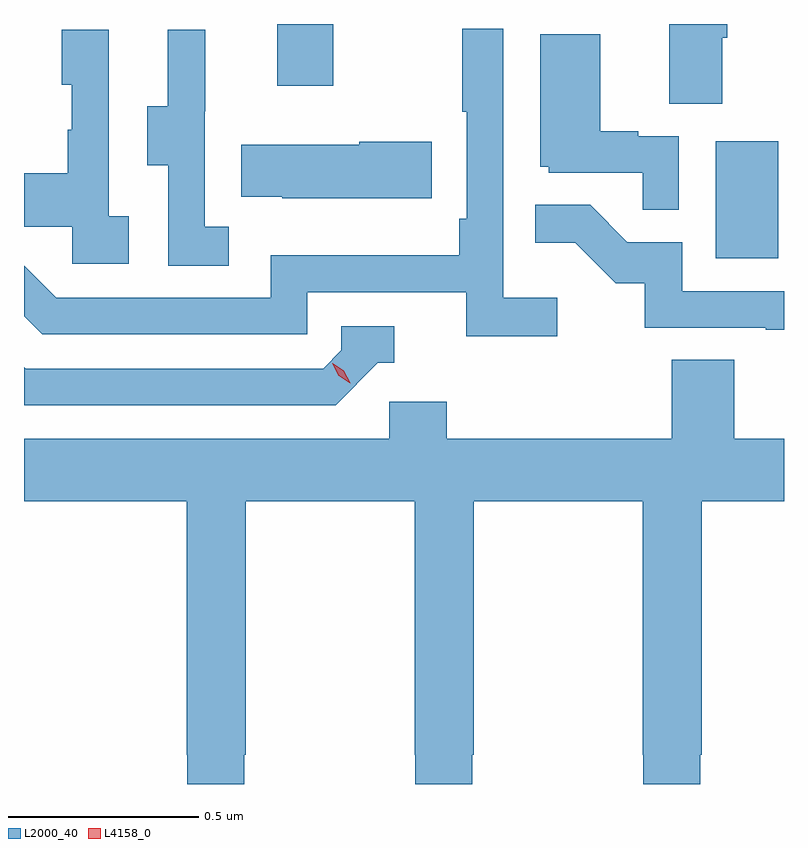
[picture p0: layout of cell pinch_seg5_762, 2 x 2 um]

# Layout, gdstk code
import gdstk
lib = gdstk.Library(unit=1e-6, precision=1e-09)
def R(c, l, rs):  # rectangles x0, y0, x1, y1
    for r in rs: c.add(gdstk.rectangle(r[:2], r[2:], *l))
def P(c, l, *ps):  # polygons
    for p in ps: c.add(gdstk.Polygon(p, *l))
L2000_40 = (2000, 40)
L4158_0 = (4158, 0)

pinch_seg5_762 = lib.new_cell('pinch_seg5_762')
R(pinch_seg5_762, L2000_40, [(843.128,912.012,843.292,912.319), (841.973,912.465,842.121,912.628)])
P(pinch_seg5_762, L2000_40, [(843.145,912.592),(843.158,912.592),(843.158,912.628),(843.005,912.628),(843.005,912.418),(843.145,912.418)],
  [(842.71,911.908),(842.568,911.908),(842.568,912.616),(842.46,912.616),(842.46,912.397),(842.472,912.397),(842.472,912.115),(842.452,912.115),(842.452,912.019),(841.956,912.019),(841.956,911.907),(841.392,911.907),(841.307,911.992),(841.307,911.859),(841.355,911.811),(842.052,911.811),(842.052,911.922),(842.471,911.922),(842.471,911.806),(842.71,911.806)],
  [(841.846,912.095),(841.782,912.095),(841.782,912.399),(841.784,912.399),(841.784,912.613),(841.685,912.613),(841.685,912.411),(841.631,912.411),(841.631,912.256),(841.686,912.256),(841.686,911.992),(841.846,911.992)],
  [(841.582,912.122),(841.53,912.122),(841.53,912.613),(841.406,912.613),(841.406,912.468),(841.432,912.468),(841.432,912.35),(841.422,912.35),(841.422,912.235),(841.307,912.235),(841.307,912.095),(841.434,912.095),(841.434,911.997),(841.582,911.997)],
  [(843.03,912.333),(842.924,912.333),(842.924,912.346),(842.824,912.346),(842.824,912.601),(842.666,912.601),(842.666,912.252),(842.688,912.252),(842.688,912.237),(842.935,912.237),(842.935,912.139),(843.03,912.139)],
  [(842.38,912.318),(842.189,912.318),(842.189,912.31),(841.879,912.31),(841.879,912.173),(841.987,912.173),(841.987,912.17),(842.38,912.17)],
  [(843.307,911.925),(843.039,911.925),(843.039,912.054),(842.895,912.054),(842.797,912.152),(842.653,912.152),(842.653,912.053),(842.757,912.053),(842.864,911.946),(842.941,911.946),(842.941,911.829),(843.259,911.829),(843.259,911.824),(843.307,911.824)],
  [(842.238,911.736),(842.281,911.736),(842.281,911.832),(842.142,911.832),(842.142,911.769),(842.094,911.721),(841.311,911.721),(841.307,911.725),(841.307,911.625),(842.127,911.625)],
  [(841.887,910.705),(841.89,910.705),(841.89,911.372),(842.335,911.372),(842.335,910.705),(842.337,910.705),(842.337,910.628),(842.487,910.628),(842.487,910.705),(842.49,910.705),(842.49,911.372),(842.935,911.372),(842.935,910.705),(842.937,910.705),(842.937,910.628),(843.087,910.628),(843.087,910.705),(843.09,910.705),(843.09,911.372),(843.307,911.372),(843.307,911.536),(843.176,911.536),(843.176,911.744),(843.011,911.744),(843.011,911.536),(842.42,911.536),(842.42,911.634),(842.268,911.634),(842.268,911.536),(841.307,911.536),(841.307,911.372),(841.735,911.372),(841.735,910.705),(841.737,910.705),(841.737,910.628),(841.887,910.628)])
P(pinch_seg5_762, L4158_0, [(842.166,911.683),(842.135,911.703),(842.118,911.735),(842.118,911.735),(842.119,911.735),(842.149,911.716),(842.166,911.684),(842.166,911.683)])

lib.write_gds('pinch_seg5_762.gds')
